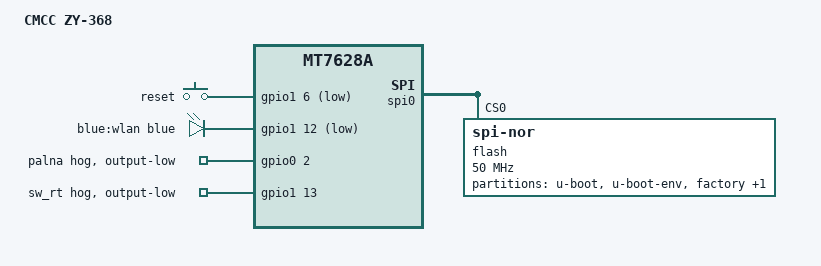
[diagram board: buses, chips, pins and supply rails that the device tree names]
// SPDX-License-Identifier: GPL-2.0-or-later

#include "mt7628a.dtsi"

#include <dt-bindings/gpio/gpio.h>
#include <dt-bindings/input/input.h>
#include <dt-bindings/leds/common.h>

/ {
	compatible = "cmcc,zy-368", "ralink,mt7628a-soc";
	model = "CMCC ZY-368";

	config {
		reset-button = "reset";
		status1-led = "blue:wlan";
	};

	gpio-keys {
		compatible = "gpio-keys";

		reset {
			label = "reset";
			gpios = <&gpio1 6 GPIO_ACTIVE_LOW>;
			linux,code = <KEY_RESTART>;
		};
	};

	gpio-leds {
		compatible = "gpio-leds";

		led-wlan {
			label = "blue:wlan";
			color = <LED_COLOR_ID_BLUE>;
			function = LED_FUNCTION_WLAN;
			gpios = <&gpio1 12 GPIO_ACTIVE_LOW>;
			default-state = "on";
		};
	};
};

&eth {
	mediatek,wan-port = <4>;

	pinctrl-names = "default";
	pinctrl-0 = <&ephy_router_mode>;
};

&gpio0 {
	palna {
		gpio-hog;
		gpios = <2 GPIO_ACTIVE_HIGH>;
		output-low;
	};
};

&gpio1 {
	sw_rt {
		gpio-hog;
		gpios = <13 GPIO_ACTIVE_HIGH>;
		output-low;
	};
};

&spi0 {
	flash@0 {
		compatible = "jedec,spi-nor";
		reg = <0>;
		spi-max-frequency = <50000000>;

		partitions {
			compatible = "fixed-partitions";
			#address-cells = <1>;
			#size-cells = <1>;

			partition@0 {
				label = "u-boot";
				reg = <0x000000 0x030000>;
			};

			partition@30000 {
				label = "u-boot-env";
				reg = <0x030000 0x010000>;
			};

			partition@40000 {
				label = "factory";
				reg = <0x040000 0x010000>;
			};

			partition@50000 {
				label = "firmware";
				reg = <0x050000 0x7b0000>;
			};
		};
	};
};

&state_default {
	gpios {
		groups = "gpio0", "spis", "spi cs1", "i2s", "sdmode", "wdt", "perst", \
			 "refclk", "i2c", "uart1", "uart2", "pwm0", "pwm1", "wled_a", "p3led_a";
		function = "gpio";
	};

	pleds {
		groups = "p0led_a", "p1led_a", "p2led_a", "p4led_a";
		function = "led";
	};
};
